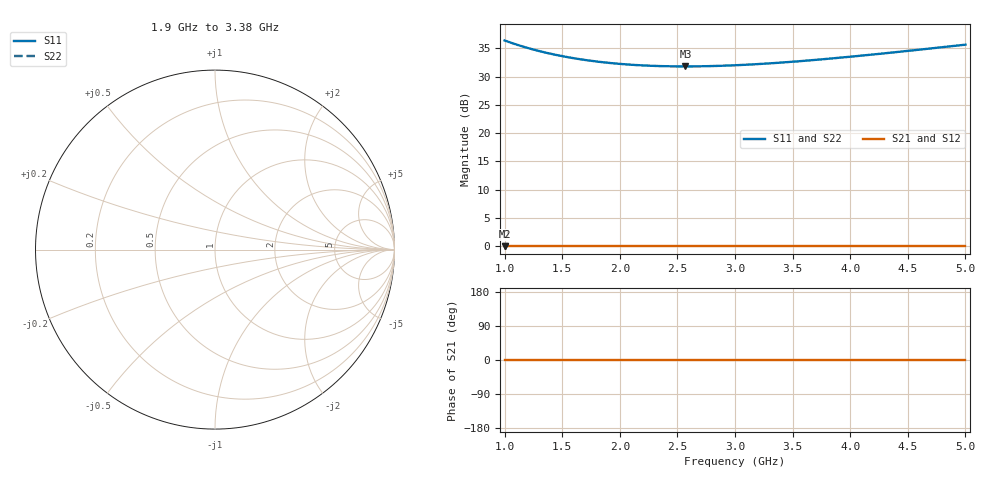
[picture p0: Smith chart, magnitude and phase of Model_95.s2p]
# GHZ S RI R 50
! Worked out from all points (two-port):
!   401 points, 1 GHz to 5 GHz, reference 50 ohm
!   highest |S21| = 0.00 dB at 1 GHz (marker M1); lowest = 0.0 dB at 1 GHz (marker M2)
!   |S21| within 3 dB of the highest: start of sweep to end of sweep
!   lowest |S11| = 31.8 dB at 2.57 GHz (marker M3)
!   |S11| at or under -10 dB: nowhere
!   |S22| runs from 31.8 to 36.4 dB; largest |S21 - S12| = 0
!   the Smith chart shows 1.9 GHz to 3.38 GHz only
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1  66.17 0  1 0  1 0  66.17 0
1.02  65.05 0  1 0  1 0  65.05 0
1.15  58.79 0  1 0  1 0  58.79 0
1.22  56.04 0  1 0  1 0  56.04 0
1.3  53.32 0  1 0  1 0  53.32 0
1.38  50.98 0  1 0  1 0  50.98 0
1.47  48.73 0  1 0  1 0  48.73 0
1.57  46.64 0  1 0  1 0  46.64 0
1.67  44.89 0  1 0  1 0  44.89 0
1.82  42.82 0  1 0  1 0  42.82 0
1.98  41.21 0  1 0  1 0  41.21 0
2.15  40.04 0  1 0  1 0  40.04 0
2.34  39.28 0  1 0  1 0  39.28 0
2.57  38.98 0  1 0  1 0  38.98 0
2.78  39.22 0  1 0  1 0  39.22 0
3  39.91 0  1 0  1 0  39.91 0
3.33  41.67 0  1 0  1 0  41.67 0
3.67  44.28 0  1 0  1 0  44.28 0
4  47.49 0  1 0  1 0  47.49 0
4.34  51.42 0  1 0  1 0  51.42 0
4.64  55.39 0  1 0  1 0  55.39 0
5  60.72 0  1 0  1 0  60.72 0
